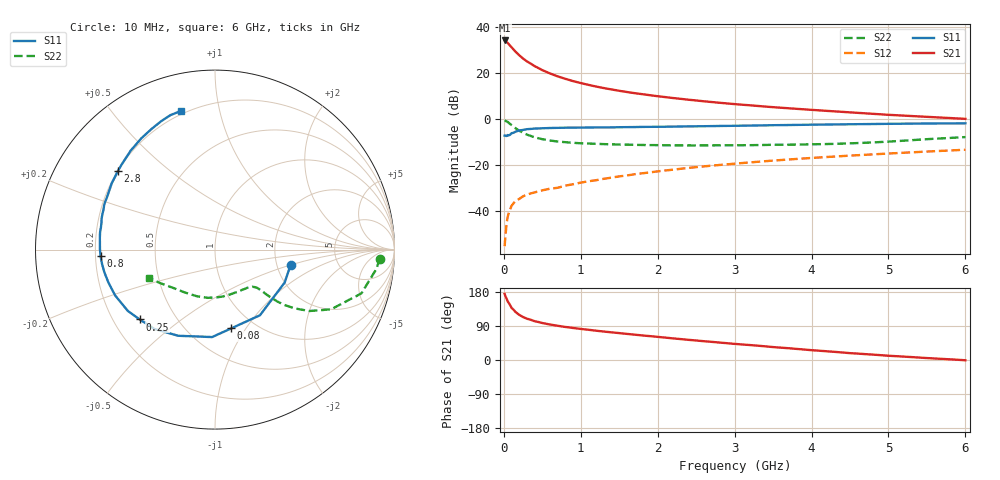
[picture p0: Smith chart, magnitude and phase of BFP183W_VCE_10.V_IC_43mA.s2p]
! Infineon Technologies  Discrete & RF Semiconductors
! BFP183W
! VCE =  10. V,  IC =  43 mA
! Common Emitter S-Parameters:  Jan 2017
# GHz  S  MA  R  50
!  f  S11  S21  S12  S22
! GHz  MAG  ANG  MAG  ANG  MAG  ANG  MAG  ANG
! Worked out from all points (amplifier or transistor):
!   77 points, 10 MHz to 6 GHz, reference 50 ohm
!   highest |S21| = 34.0 dB at 10 MHz (marker M1)
!   |S21| within 3 dB of that: start of sweep to 101.5 MHz
!   unconditionally stable (mu >= 1): 875.5 MHz to 3.701 GHz
!   at 130 MHz: K = 0.41, MSG = 33.3 dB, |S12| = -36.6 dB
!   at 2.2 GHz: K = 1.11, MAG = 13.6 dB, |S12| = -22.1 dB
!   at 6 GHz: K = 0.86, MSG = 6.7 dB, |S12| = -13.5 dB
!   S11 on the Smith chart (normalised r, x): 10 MHz: 2.39, -0.49; 80 MHz: 0.78, -0.86; 250 MHz: 0.31, -0.36; 800 MHz: 0.22, -0.03; 2.8 GHz: 0.20, +0.34; 6 GHz: 0.18, +0.77
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0.01  0.4301 -11.2  50.34 174.4  0.0017 63.9  0.9198 -3.1
0.02  0.4293 -25.3  49.09 168.7  0.0027 87.7  0.9051 -6.9
0.05  0.4434 -55.6  44.55 154.6  0.0074 68.2  0.8518 -16.6
0.08  0.448 -78.3  38.91 145.3  0.0106 62.4  0.7741 -22.6
0.1  0.4876 -91.9  35.86 137.6  0.0128 60.1  0.7278 -27.2
0.15  0.5222 -113.2  28.92 127.0  0.0162 55.7  0.6266 -33.1
0.2  0.5562 -127.3  24.01 119.1  0.0181 50.2  0.5499 -36.5
0.25  0.572 -137.1  20.37 113.4  0.0206 49.4  0.4959 -38.5
0.3  0.5937 -144.8  17.67 109.0  0.0225 47.3  0.4516 -39.8
0.4  0.6121 -155.3  13.92 102.4  0.0251 48.6  0.395 -40.9
0.5  0.6215 -162.8  11.39 97.6  0.0278 48.7  0.3599 -41.3
0.6  0.6292 -168.4  9.654 93.6  0.0302 51.2  0.3363 -41.7
0.7  0.6344 -172.7  8.35 90.3  0.0316 53.3  0.3196 -42.1
0.8  0.6388 -176.8  7.377 87.2  0.0352 55.1  0.3096 -42.8
1.1  0.6451 174.0  5.453 79.8  0.0437 58.5  0.2896 -46.0
1.5  0.6549 164.8  4.053 71.0  0.0559 61.2  0.2754 -52.0
2.1  0.6711 152.7  2.954 59.1  0.0751 61.7  0.2653 -64.0
2.8  0.6967 140.8  2.228 46.1  0.0988 60.2  0.2649 -81.0
3.1  0.7067 136.3  2.02 41.0  0.109 58.8  0.2659 -88.6
4.1  0.746 122.4  1.522 24.5  0.144 53.6  0.2802 -114.3
5.1  0.778 111.9  1.194 10.1  0.179 47.4  0.326 -140.8
6  0.7951 103.9  0.996 -0.7  0.212 41.1  0.3997 -156.8
